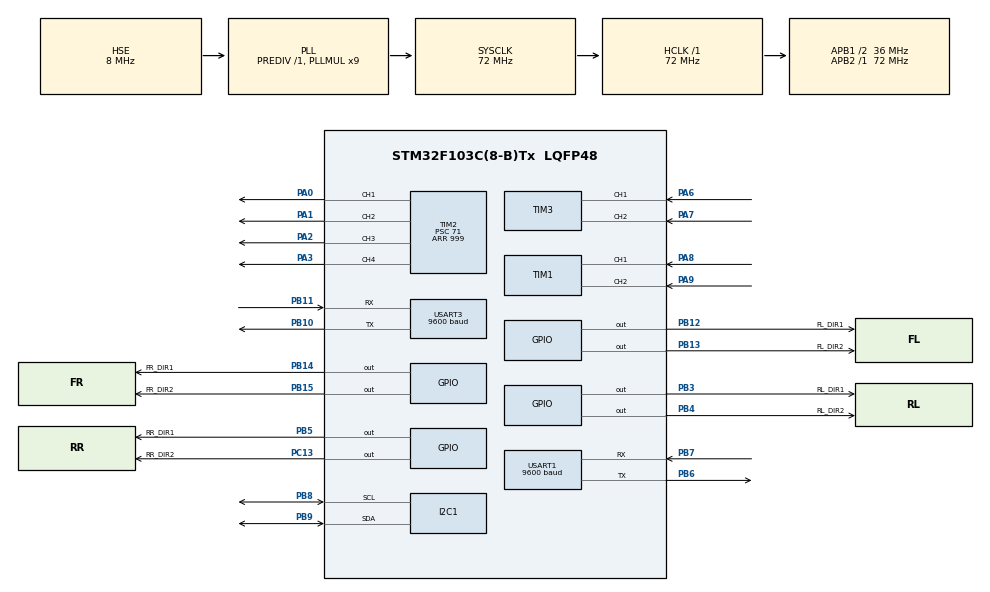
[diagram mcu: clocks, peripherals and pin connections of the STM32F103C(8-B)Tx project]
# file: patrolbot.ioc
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FREERTOS.Tasks01=defaultTask,24,128,StartDefaultTask,Default,NULL,Dynamic,NULL,NULL;MotionTask,48,128,StartMotionTask,Default,NULL,Dynamic,NULL,NULL
FREERTOS.configTOTAL_HEAP_SIZE=10240
Mcu.Family=STM32F1
Mcu.Name=STM32F103C(8-B)Tx
Mcu.Package=LQFP48
NVIC.PriorityGroup=NVIC_PRIORITYGROUP_4
NVIC.TIM4_IRQn=true\:15\:0\:false\:false\:true\:false\:false\:true\:true
NVIC.TimeBase=TIM4_IRQn
NVIC.TimeBaseIP=TIM4
NVIC.USART1_IRQn=true\:5\:0\:false\:false\:true\:true\:true\:true\:true
NVIC.USART3_IRQn=true\:5\:0\:false\:false\:true\:true\:true\:true\:true
PA0-WKUP.Signal=S_TIM2_CH1_ETR
PA1.Signal=S_TIM2_CH2
PA13.Mode=Serial_Wire
PA13.Signal=SYS_JTMS-SWDIO
PA14.Mode=Serial_Wire
PA14.Signal=SYS_JTCK-SWCLK
PA2.Signal=S_TIM2_CH3
PA3.Signal=S_TIM2_CH4
PA6.Signal=S_TIM3_CH1
PA7.Signal=S_TIM3_CH2
PA8.Signal=S_TIM1_CH1
PA9.Signal=S_TIM1_CH2
PB10.Mode=Asynchronous
PB10.Signal=USART3_TX
PB11.Mode=Asynchronous
PB11.Signal=USART3_RX
PB12.GPIO_Label=FL_DIR1
PB12.Signal=GPIO_Output
PB13.GPIO_Label=FL_DIR2
PB13.Signal=GPIO_Output
PB14.GPIO_Label=FR_DIR1
PB14.Signal=GPIO_Output
PB15.GPIO_Label=FR_DIR2
PB15.Signal=GPIO_Output
PB3.GPIO_Label=RL_DIR1
PB3.Signal=GPIO_Output
PB4.GPIO_Label=RL_DIR2
PB4.Signal=GPIO_Output
PB5.GPIO_Label=RR_DIR1
PB5.Signal=GPIO_Output
PB6.Mode=Asynchronous
PB6.Signal=USART1_TX
PB7.Mode=Asynchronous
PB7.Signal=USART1_RX
PB8.Mode=I2C
PB8.Signal=I2C1_SCL
PB9.Mode=I2C
PB9.Signal=I2C1_SDA
PC13-TAMPER-RTC.GPIO_Label=RR_DIR2
PC13-TAMPER-RTC.Signal=GPIO_Output
PD0-OSC_IN.Mode=HSE-External-Oscillator
PD0-OSC_IN.Signal=RCC_OSC_IN
PD1-OSC_OUT.Mode=HSE-External-Oscillator
PD1-OSC_OUT.Signal=RCC_OSC_OUT
ProjectManager.HeapSize=0x200
ProjectManager.StackSize=0x400
ProjectManager.TargetToolchain=CMake
RCC.AHBFreq_Value=72000000
RCC.APB1CLKDivider=RCC_HCLK_DIV2
RCC.APB1Freq_Value=36000000
RCC.APB1TimFreq_Value=72000000
RCC.APB2Freq_Value=72000000
RCC.APB2TimFreq_Value=72000000
RCC.HCLKFreq_Value=72000000
RCC.PLLMUL=RCC_PLL_MUL9
RCC.PLLSourceVirtual=RCC_PLLSOURCE_HSE
RCC.SYSCLKFreq_VALUE=72000000
RCC.SYSCLKSource=RCC_SYSCLKSOURCE_PLLCLK
RCC.USBFreq_Value=72000000
SH.S_TIM1_CH1.0=TIM1_CH1,Encoder_Interface
SH.S_TIM1_CH2.0=TIM1_CH2,Encoder_Interface
SH.S_TIM2_CH1_ETR.0=TIM2_CH1,PWM Generation1 CH1
SH.S_TIM2_CH2.0=TIM2_CH2,PWM Generation2 CH2
SH.S_TIM2_CH3.0=TIM2_CH3,PWM Generation3 CH3
SH.S_TIM2_CH4.0=TIM2_CH4,PWM Generation4 CH4
SH.S_TIM3_CH1.0=TIM3_CH1,Encoder_Interface
SH.S_TIM3_CH2.0=TIM3_CH2,Encoder_Interface
TIM1.EncoderMode=TIM_ENCODERMODE_TI12
TIM1.IC1Filter=10
TIM1.IC2Filter=10
TIM2.Channel-PWM\ Generation1\ CH1=TIM_CHANNEL_1
TIM2.Channel-PWM\ Generation2\ CH2=TIM_CHANNEL_2
TIM2.Channel-PWM\ Generation3\ CH3=TIM_CHANNEL_3
TIM2.Channel-PWM\ Generation4\ CH4=TIM_CHANNEL_4
TIM2.Period=999
TIM2.Prescaler=71
TIM3.EncoderMode=TIM_ENCODERMODE_TI12
TIM3.IC1Filter=10
TIM3.IC2Filter=10
USART1.BaudRate=9600
USART1.VirtualMode=VM_ASYNC
USART3.BaudRate=9600
USART3.VirtualMode=VM_ASYNC
VP_FREERTOS_VS_CMSIS_V2.Mode=CMSIS_V2
VP_SYS_VS_tim4.Mode=TIM4
board=custom

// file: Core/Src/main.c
/* USER CODE BEGIN Header */
/**
  ******************************************************************************
  * @file           : main.c
  * @brief          : Main program body
  ******************************************************************************
  * @attention
  *
  * Copyright (c) 2026 STMicroelectronics.
  * All rights reserved.
  *
  * This software is licensed under terms that can be found in the LICENSE file
  * in the root directory of this software component.
  * If no LICENSE file comes with this software, it is provided AS-IS.
  *
  ******************************************************************************
  */
/* USER CODE END Header */
#include "main.h"
#include "cmsis_os.h"
#include "i2c.h"
#include "tim.h"
#include "usart.h"
#include "gpio.h"
#include "jy61p.h"
/* USER CODE BEGIN Includes */
#include "motor_driver.h"
#include <stdio.h>
/* USER CODE END Includes */

void SystemClock_Config(void);
void MX_FREERTOS_Init(void);

/* USER CODE BEGIN 0 */
// 实时偏航角，因跨任务共享故加volatile防止编译器优化导致的访问异常
volatile float current_yaw = 0.0f;
// 目标偏航角，因跨任务共享故加volatile防止编译器优化导致的访问异常
volatile float target_yaw = 0.0f;
/* USER CODE END 0 */

int main(void)
{

  /* MCU Configuration--------------------------------------------------------*/

  /* Reset of all peripherals, Initializes the Flash interface and the Systick. */
  HAL_Init();

  /* Configure the system clock */
  SystemClock_Config();

  /* Initialize all configured peripherals */
  MX_GPIO_Init();
  MX_TIM2_Init();
  MX_TIM3_Init();
  MX_TIM1_Init();
  MX_USART3_UART_Init();
  MX_I2C1_Init();
  MX_USART1_UART_Init();
  /* USER CODE BEGIN 2 */
  // 启动 JY61P 专属通道 (USART3) 的单字节中断接收
 JY61P_Init(&huart3);
  R3X_Init();
  /* USER CODE END 2 */

  /* Init scheduler */
  osKernelInitialize();  /* Call init function for freertos objects (in cmsis_os2.c) */
  MX_FREERTOS_Init();

  /* Start scheduler */
  osKernelStart();

  /* We should never get here as control is now taken by the scheduler */

  /* Infinite loop */
  while (1)
  {

  }
}

void SystemClock_Config(void)
{
  RCC_OscInitTypeDef RCC_OscInitStruct = {0};
  RCC_ClkInitTypeDef RCC_ClkInitStruct = {0};

  /** Initializes the RCC Oscillators according to the specified parameters
  * in the RCC_OscInitTypeDef structure.
  */
  RCC_OscInitStruct.OscillatorType = RCC_OSCILLATORTYPE_HSE;
  RCC_OscInitStruct.HSEState = RCC_HSE_ON;
  RCC_OscInitStruct.HSEPredivValue = RCC_HSE_PREDIV_DIV1;
  RCC_OscInitStruct.HSIState = RCC_HSI_ON;
  RCC_OscInitStruct.PLL.PLLState = RCC_PLL_ON;
  RCC_OscInitStruct.PLL.PLLSource = RCC_PLLSOURCE_HSE;
  RCC_OscInitStruct.PLL.PLLMUL = RCC_PLL_MUL9;
  if (HAL_RCC_OscConfig(&RCC_OscInitStruct) != HAL_OK)
  {
    Error_Handler();
  }

  /** Initializes the CPU, AHB and APB buses clocks
  */
  RCC_ClkInitStruct.ClockType = RCC_CLOCKTYPE_HCLK|RCC_CLOCKTYPE_SYSCLK
                              |RCC_CLOCKTYPE_PCLK1|RCC_CLOCKTYPE_PCLK2;
  RCC_ClkInitStruct.SYSCLKSource = RCC_SYSCLKSOURCE_PLLCLK;
  RCC_ClkInitStruct.AHBCLKDivider = RCC_SYSCLK_DIV1;
  RCC_ClkInitStruct.APB1CLKDivider = RCC_HCLK_DIV2;
  RCC_ClkInitStruct.APB2CLKDivider = RCC_HCLK_DIV1;

  if (HAL_RCC_ClockConfig(&RCC_ClkInitStruct, FLASH_LATENCY_2) != HAL_OK)
  {
    Error_Handler();
  }
}

/* USER CODE BEGIN 4 */
/**
 * @brief   串口数据接收完成中断回调函数 (裸机最高路权)
 * @details
 * - 业务逻辑：实现针对 JY61P 姿态传感器的工业级状态机解析。
 * - 容错机制：严格校验 0x55 帧头与 0x53 角度标识，过滤多余的加速度与角速度帧，确保解算绝对安全。
 * @param   huart 触发中断的串口句柄
 */
void HAL_UART_RxCpltCallback(UART_HandleTypeDef *huart) {
  JY61P_RxCpltCallback(huart); // JY61P 去领自己的数据
  // 未来如果加了 ESP32： ESP32_RxCpltCallback(huart);
}

/**
 * @brief   串口通信错误自愈回调函数
 * @details 应对 DMA/IT 接收中途发生的 ORE (溢出错误) 等硬件异常，强行清除标志位并重启接收。
 */
void HAL_UART_ErrorCallback(UART_HandleTypeDef *huart) {
  JY61P_ErrorCallback(huart);
}

/* USER CODE END 4 */

void HAL_TIM_PeriodElapsedCallback(TIM_HandleTypeDef *htim)
{
  if (htim->Instance == TIM4)
  {
    HAL_IncTick();
  }
}

void Error_Handler(void)
{
  __disable_irq();
  while (1)
  {
  }
}

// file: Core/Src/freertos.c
/* USER CODE BEGIN Header */
/**
  ******************************************************************************
  * File Name          : freertos.c
  * Description        : Code for freertos applications
  ******************************************************************************
  * @attention
  *
  * Copyright (c) 2026 STMicroelectronics.
  * All rights reserved.
  *
  * This software is licensed under terms that can be found in the LICENSE file
  * in the root directory of this software component.
  * If no LICENSE file comes with this software, it is provided AS-IS.
  *
  ******************************************************************************
  */
/* USER CODE END Header */

#include "FreeRTOS.h"
#include "task.h"
#include "main.h"
#include "cmsis_os.h"

/* USER CODE BEGIN Includes */
#include "motor_driver.h"
#include "tim.h"
#include "gpio.h"
#include <stdio.h>
#include "string.h"
#include "usart.h"
#include "i2c_bus.h"
#include "pid.h"
#include "encoder.h"
#include "gy906.h"
#include "oled.h"
#include "monitor_app.h"
#include "chassis_app.h"
#include "track_app.h"
/* USER CODE END Includes */

/* Definitions for defaultTask */
osThreadId_t defaultTaskHandle;
const osThreadAttr_t defaultTask_attributes = {
  .name = "defaultTask",
  .stack_size = 128 * 4,
  .priority = (osPriority_t) osPriorityNormal,
};
/* Definitions for MotionTask */
osThreadId_t MotionTaskHandle;
const osThreadAttr_t MotionTask_attributes = {
  .name = "MotionTask",
  .stack_size = 128 * 4,
  .priority = (osPriority_t) osPriorityRealtime,
};

void StartDefaultTask(void *argument);
void StartMotionTask(void *argument);

void MX_FREERTOS_Init(void); /* (MISRA C 2004 rule 8.1) */

void MX_FREERTOS_Init(void) {

  /* Create the thread(s) */
  /* creation of defaultTask */
  defaultTaskHandle = osThreadNew(StartDefaultTask, NULL, &defaultTask_attributes);

  /* creation of MotionTask */
  MotionTaskHandle = osThreadNew(StartMotionTask, NULL, &MotionTask_attributes);

}

/* USER CODE BEGIN Header_StartDefaultTask */
/**
  * @brief  Function implementing the defaultTask thread.
  * @param  argument: Not used
  * @retval None
  */
/**
 * @brief   底盘运动控制任务 (MotionTask)
 * @details
 * - 优先级：osPriorityRealtime (最高优先级)
 * - 职责：负责底盘跨任务熔断拦截与闭环 PID 运动学解算。利用其最高抢占权，实现 0 延迟的安全响应。
 * @param   argument 未使用
 * @retval  None
 */
/* USER CODE END Header_StartDefaultTask */
void StartDefaultTask(void *argument)
{
  /* USER CODE BEGIN StartDefaultTask */
  Monitor_App_Init();

  // 1. 初始化 OLED (屏幕点亮)
  OLED_Init();
   //初始化灰度传感器
  Track_App_Init();
  /* Infinite loop */
  for(;;)
  {
    Monitor_App_TaskLoop();
    Track_App_TaskLoop();   // <--- 新增：采集灰度数据，并修改全局的 target_yaw 与 is_lost_line
    osDelay(20);
  }
  /* USER CODE END StartDefaultTask */
}

/* USER CODE BEGIN Header_StartMotionTask */
extern TIM_HandleTypeDef htim3;
extern TIM_HandleTypeDef htim1;
extern TIM_HandleTypeDef htim2;
/**
* @brief Function implementing the MotionTask thread.
* @param argument: Not used
* @retval None
*/
/**
 * @brief   底盘运动控制任务 (MotionTask)
 * @details
 * - 优先级：osPriorityRealtime (最高优先级)
 * - 职责：负责底盘跨任务熔断拦截与闭环 PID 运动学解算。利用其最高抢占权，实现 0 延迟的安全响应。
 * @param   argument 未使用
 * @retval  None
 */
/* USER CODE END Header_StartMotionTask */
void StartMotionTask(void *argument)
{
  /* USER CODE BEGIN StartMotionTask */
  Chassis_App_Init();

  /* Infinite loop */
  for(;;)
  {

    Chassis_App_TaskLoop();

    osDelay(10);
  }
  /* USER CODE END StartMotionTask */
}
